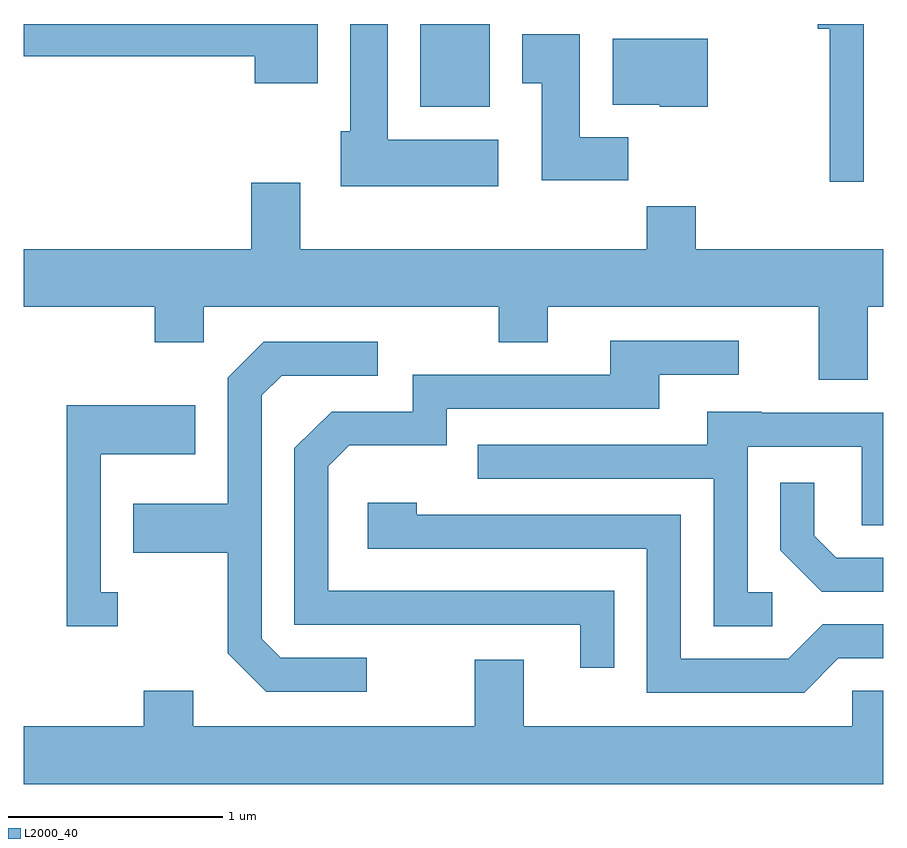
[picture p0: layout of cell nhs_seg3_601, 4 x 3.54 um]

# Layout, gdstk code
import gdstk
lib = gdstk.Library(unit=1e-6, precision=1e-09)
def R(c, l, rs):  # rectangles x0, y0, x1, y1
    for r in rs: c.add(gdstk.rectangle(r[:2], r[2:], *l))
def P(c, l, *ps):  # polygons
    for p in ps: c.add(gdstk.Polygon(p, *l))
L2000_40 = (2000, 40)

nhs_seg3_601 = lib.new_cell('nhs_seg3_601')
R(nhs_seg3_601, L2000_40, [(203.456,1233.506,203.779,1233.892)])
P(nhs_seg3_601, L2000_40, [(202.979,1233.892),(201.611,1233.892),(201.611,1233.741),(202.686,1233.741),(202.686,1233.616),(202.979,1233.616)],
  [(205.519,1233.892),(205.306,1233.892),(205.306,1233.871),(205.361,1233.871),(205.361,1233.158),(205.519,1233.158)],
  [(203.819,1233.354),(203.304,1233.354),(203.304,1233.892),(203.131,1233.892),(203.131,1233.394),(203.086,1233.394),(203.086,1233.136),(203.819,1233.136)],
  [(204.424,1233.364),(204.199,1233.364),(204.199,1233.844),(203.931,1233.844),(203.931,1233.616),(204.021,1233.616),(204.021,1233.166),(204.424,1233.166)],
  [(204.794,1233.824),(204.351,1233.824),(204.351,1233.516),(204.57,1233.516),(204.57,1233.506),(204.794,1233.506)],
  [(205.539,1232.576),(205.611,1232.576),(205.611,1232.844),(204.739,1232.844),(204.739,1233.044),(204.511,1233.044),(204.511,1232.844),(202.899,1232.844),(202.899,1233.154),(202.671,1233.154),(202.671,1232.844),(201.611,1232.844),(201.611,1232.576),(202.221,1232.576),(202.221,1232.411),(202.449,1232.411),(202.449,1232.576),(203.821,1232.576),(203.821,1232.411),(204.049,1232.411),(204.049,1232.576),(205.311,1232.576),(205.311,1232.236),(205.539,1232.236)],
  [(204.359,1231.254),(203.029,1231.254),(203.029,1231.834),(203.127,1231.931),(203.579,1231.931),(203.579,1232.101),(204.569,1232.101),(204.569,1232.261),(204.938,1232.261),(204.938,1232.419),(204.341,1232.419),(204.341,1232.259),(203.421,1232.259),(203.421,1232.089),(203.044,1232.089),(202.871,1231.917),(202.871,1231.096),(204.201,1231.096),(204.201,1230.898),(204.359,1230.898)],
  [(203.208,1230.944),(202.807,1230.944),(202.719,1231.032),(202.719,1232.164),(202.812,1232.256),(203.258,1232.256),(203.258,1232.414),(202.729,1232.414),(202.561,1232.247),(202.561,1231.659),(202.121,1231.659),(202.121,1231.431),(202.561,1231.431),(202.561,1230.964),(202.739,1230.786),(203.208,1230.786)],
  [(202.048,1231.249),(201.969,1231.249),(201.969,1231.891),(202.409,1231.891),(202.409,1232.119),(201.811,1232.119),(201.811,1231.091),(202.048,1231.091)],
  [(205.093,1231.249),(204.979,1231.249),(204.979,1231.926),(205.511,1231.926),(205.511,1231.561),(205.611,1231.561),(205.611,1232.084),(205.045,1232.084),(205.045,1232.089),(204.791,1232.089),(204.791,1231.934),(203.723,1231.934),(203.723,1231.776),(204.821,1231.776),(204.821,1231.091),(205.093,1231.091)],
  [(205.611,1231.409),(205.392,1231.409),(205.289,1231.512),(205.289,1231.758),(205.131,1231.758),(205.131,1231.444),(205.324,1231.251),(205.611,1231.251)],
  [(205.402,1230.941),(205.611,1230.941),(205.611,1231.099),(205.329,1231.099),(205.169,1230.939),(204.669,1230.939),(204.669,1231.609),(203.439,1231.609),(203.439,1231.664),(203.211,1231.664),(203.211,1231.451),(204.511,1231.451),(204.511,1230.781),(205.242,1230.781)],
  [(205.611,1230.789),(205.466,1230.789),(205.466,1230.624),(203.939,1230.624),(203.939,1230.934),(203.711,1230.934),(203.711,1230.624),(202.399,1230.624),(202.399,1230.789),(202.171,1230.789),(202.171,1230.624),(201.611,1230.624),(201.611,1230.356),(205.611,1230.356)])

lib.write_gds('nhs_seg3_601.gds')
